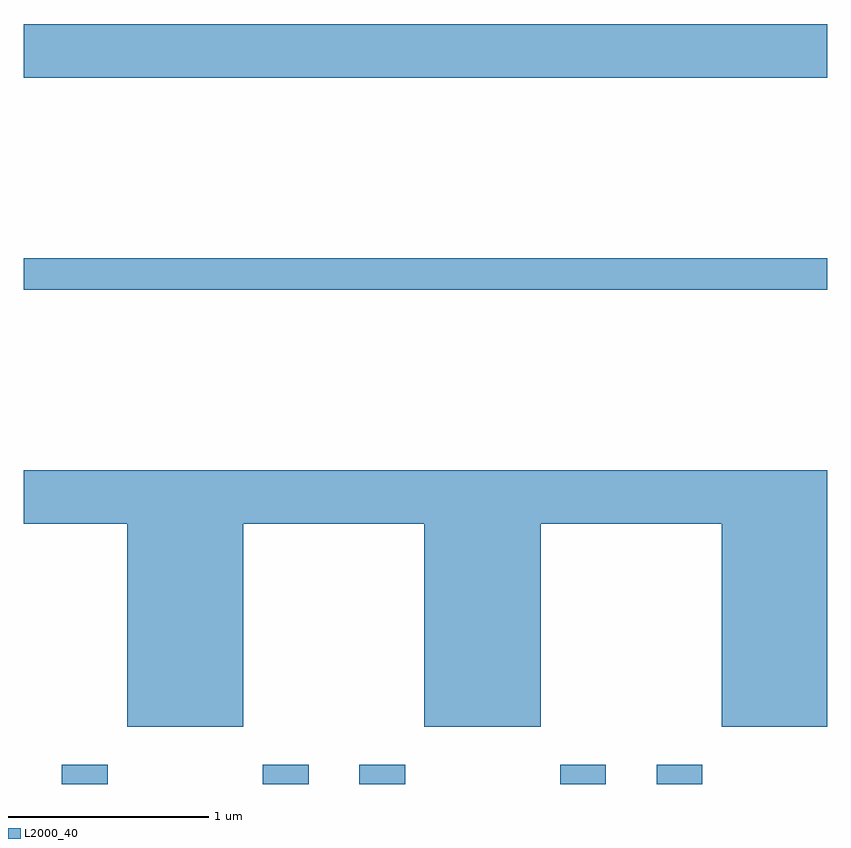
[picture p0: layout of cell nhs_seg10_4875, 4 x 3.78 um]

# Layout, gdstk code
import gdstk
lib = gdstk.Library(unit=1e-6, precision=1e-09)
def R(c, l, rs):  # rectangles x0, y0, x1, y1
    for r in rs: c.add(gdstk.rectangle(r[:2], r[2:], *l))
def P(c, l, *ps):  # polygons
    for p in ps: c.add(gdstk.Polygon(p, *l))
L2000_40 = (2000, 40)

nhs_seg10_4875 = lib.new_cell('nhs_seg10_4875')
R(nhs_seg10_4875, L2000_40, [(327.801,2212.522,328.029,2212.619), (328.801,2212.522,329.029,2212.619), (329.281,2212.522,329.509,2212.619), (330.281,2212.522,330.509,2212.619), (330.761,2212.522,330.989,2212.619), (327.611,2214.981,331.611,2215.139), (327.611,2216.036,331.611,2216.304)])
P(nhs_seg10_4875, L2000_40, [(328.704,2213.816),(329.606,2213.816),(329.606,2212.806),(330.184,2212.806),(330.184,2213.816),(331.086,2213.816),(331.086,2212.806),(331.611,2212.806),(331.611,2214.084),(327.611,2214.084),(327.611,2213.816),(328.126,2213.816),(328.126,2212.806),(328.704,2212.806)])

lib.write_gds('nhs_seg10_4875.gds')
